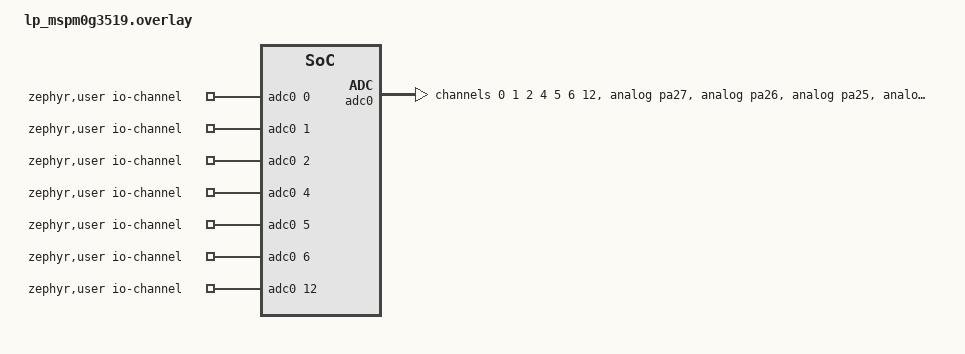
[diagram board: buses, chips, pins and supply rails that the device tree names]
/*
 * SPDX-FileCopyrightText: 2026 Texas Instruments Incorporated
 *
 * SPDX-License-Identifier: Apache-2.0
 */

#include <dt-bindings/adc/adc.h>

/ {
	zephyr,user {
		io-channels = <&adc0 0>, <&adc0 1>, <&adc0 2>, <&adc0 4>,
			      <&adc0 5>, <&adc0 6>, <&adc0 12>;
	};
};

&adc0 {
	pinctrl-0 = <
		&analog_pa27 /* ADC0.0 */
		&analog_pa26 /* ADC0.1 */
		&analog_pa25 /* ADC0.2 */
		&analog_pb25 /* ADC0.4 */
		&analog_pb24 /* ADC0.5 */
		&analog_pb20 /* ADC0.6 */
		&analog_pa14 /* ADC0.12 */
	>;
	pinctrl-names = "default";
	status = "okay";
	#address-cells = <1>;
	#size-cells = <0>;

	channel@0 {
		reg = <0>;
		zephyr,gain = "ADC_GAIN_1";
		zephyr,reference = "ADC_REF_VDD_1";
		zephyr,vref-mv = <3300>;
		zephyr,acquisition-time = <ADC_ACQ_TIME(ADC_ACQ_TIME_MICROSECONDS, 5)>;
		zephyr,resolution = <12>;
	};

	channel@1 {
		reg = <1>;
		zephyr,gain = "ADC_GAIN_1";
		zephyr,reference = "ADC_REF_VDD_1";
		zephyr,vref-mv = <3300>;
		zephyr,acquisition-time = <ADC_ACQ_TIME(ADC_ACQ_TIME_MICROSECONDS, 5)>;
		zephyr,resolution = <12>;
	};

	channel@2 {
		reg = <2>;
		zephyr,gain = "ADC_GAIN_1";
		zephyr,reference = "ADC_REF_VDD_1";
		zephyr,vref-mv = <3300>;
		zephyr,acquisition-time = <ADC_ACQ_TIME(ADC_ACQ_TIME_MICROSECONDS, 5)>;
		zephyr,resolution = <12>;
	};

	channel@4 {
		reg = <4>;
		zephyr,gain = "ADC_GAIN_1";
		zephyr,reference = "ADC_REF_VDD_1";
		zephyr,vref-mv = <3300>;
		zephyr,acquisition-time = <ADC_ACQ_TIME(ADC_ACQ_TIME_MICROSECONDS, 5)>;
		zephyr,resolution = <12>;
	};

	channel@5 {
		reg = <5>;
		zephyr,gain = "ADC_GAIN_1";
		zephyr,reference = "ADC_REF_VDD_1";
		zephyr,vref-mv = <3300>;
		zephyr,acquisition-time = <ADC_ACQ_TIME(ADC_ACQ_TIME_MICROSECONDS, 5)>;
		zephyr,resolution = <12>;
	};

	channel@6 {
		reg = <6>;
		zephyr,gain = "ADC_GAIN_1";
		zephyr,reference = "ADC_REF_VDD_1";
		zephyr,vref-mv = <3300>;
		zephyr,acquisition-time = <ADC_ACQ_TIME(ADC_ACQ_TIME_MICROSECONDS, 5)>;
		zephyr,resolution = <12>;
	};

	channel@c {
		reg = <12>;
		zephyr,gain = "ADC_GAIN_1";
		zephyr,reference = "ADC_REF_VDD_1";
		zephyr,vref-mv = <3300>;
		zephyr,acquisition-time = <ADC_ACQ_TIME(ADC_ACQ_TIME_MICROSECONDS, 5)>;
		zephyr,resolution = <12>;
	};
};
